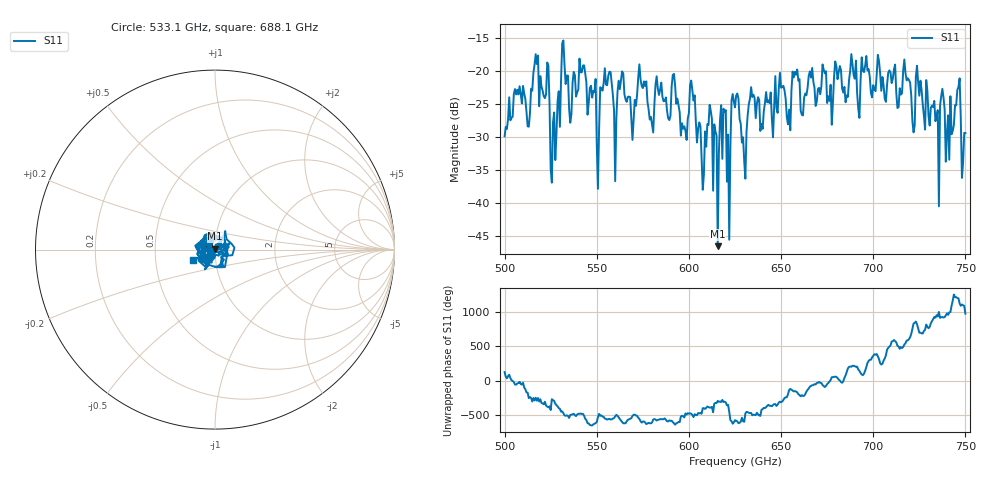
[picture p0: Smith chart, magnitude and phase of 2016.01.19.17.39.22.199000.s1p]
!Created with skrf (http://scikit-rf.org).
# GHz S RI R 50.0
!freq ReS11 ImS11
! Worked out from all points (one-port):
!   401 points, 500 GHz to 750 GHz, reference 50 ohm
!   lowest |S11| = -46.5 dB at 615.6 GHz (marker M1), VSWR 1.01, Z = 50.2 + j0.445 ohm
!   |S11| at or under -10 dB: start of sweep to end of sweep
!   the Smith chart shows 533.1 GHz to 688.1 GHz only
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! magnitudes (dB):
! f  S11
! 500 GHz  -29.9
! 506.9 GHz  -22.9
! 513.1 GHz  -28.4
! 516.9 GHz  -17.5
! 523.1 GHz  -18.7
! 526.2 GHz  -27.8
! 531.2 GHz  -15.8
! 535.6 GHz  -27.8
! 541.9 GHz  -20.2
! 551.2 GHz  -29.0
! 553.1 GHz  -23.0
! 560 GHz  -36.7
! 562.5 GHz  -22.8
! 593.8 GHz  -24.2
! 601.9 GHz  -23.0
! 606.9 GHz  -33.3
! 615.6 GHz  -46.5
! 618.8 GHz  -25.7
! 621.9 GHz  -45.6
! 625 GHz  -25.5
! 630 GHz  -33.7
! 633.8 GHz  -22.5
! 656.2 GHz  -20.1
! 687.5 GHz  -20.0
! 718.8 GHz  -21.1
! 740 GHz  -29.4
! 745.6 GHz  -22.9
! 750 GHz  -29.4
